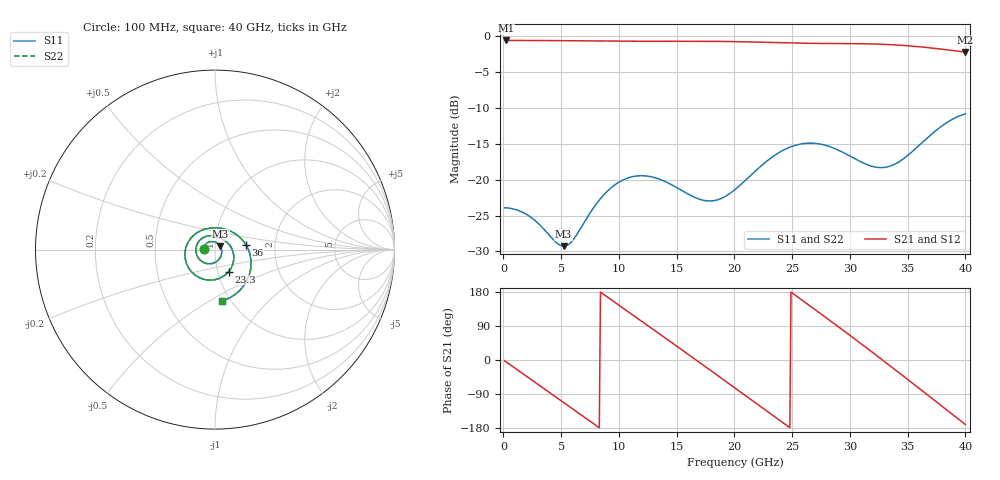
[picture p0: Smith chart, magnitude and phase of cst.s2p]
! B_s8_L1L8_d200: L1→L8, no stub, drill Ø0.2
! stackup: 8-layer 1.6 mm FR-4 (generic)
! ports: 1, 2
! CST Studio Suite 2025.5 Release from 2025-05-30, time domain (FIT, hexahedral, PBA), 154800 mesh cells, 35 s
! mesh: {'lpw': 20, 'lpb': 20, 'minstep': 0.0, 'ratio': 20}; ports: port 1 (face); port 2 (face)
! interpolated from CST's 1001 samples to the case grid
# Hz S RI R 50
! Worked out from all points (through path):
!   400 points, 100 MHz to 40 GHz, reference 50 ohm
!   highest |S21| = -0.57 dB at 200 MHz (marker M1); lowest = -2.2 dB at 40 GHz (marker M2)
!   group delay of S21, straight-line fit = 61.5 ps
!   lowest |S11| = -29.3 dB at 5.2 GHz (marker M3), VSWR 1.07, Z = 53 + j1.84 ohm
!   |S11| at or under -10 dB: start of sweep to end of sweep
!   |S22| runs from -29.3 to -10.8 dB; largest |S21 - S12| = 4.5e-07
!   S11 on the Smith chart (normalised r, x): 100 MHz: 0.88, +0.00; 23.3 GHz: 1.13, -0.28; 36 GHz: 1.41, +0.08; 40 GHz: 0.91, -0.57
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1e8  -0.0637 0.00216  0.936 -0.0352  0.936 -0.0352  -0.0637 0.00216
2e8  -0.0635 0.00432  0.934 -0.0704  0.934 -0.0704  -0.0635 0.00432
2.9e9  -0.0233 0.0448  0.4324 -0.8297  0.4324 -0.8297  -0.0233 0.0448
5.2e9  0.0297 0.0173  -0.35 -0.8653  -0.35 -0.8653  0.0297 0.0173
6.8e9  0.0341 -0.033  -0.7763 -0.5142  -0.7763 -0.5142  0.0341 -0.033
9.6e9  -0.0503 -0.0764  -0.8279 0.4172  -0.8279 0.4172  -0.0503 -0.0764
1.16e10  -0.104 -0.0224  -0.3192 0.8684  -0.3192 0.8684  -0.104 -0.0223
1.34e10  -0.0916 0.044  0.2962 0.8761  0.2962 0.8761  -0.0916 0.044
1.67e10  0.00228 0.0745  0.925 -0.00697  0.925 -0.00697  0.0023 0.0745
1.83e10  0.0407 0.0591  0.7519 -0.5362  0.7519 -0.5362  0.0407 0.059
2.01e10  0.083 0.0229  0.2365 -0.8883  0.2365 -0.8883  0.083 0.0229
2.16e10  0.1047 -0.0365  -0.2846 -0.8681  -0.2846 -0.8681  0.1047 -0.0366
2.33e10  0.0759 -0.1229  -0.7476 -0.5115  -0.7476 -0.5115  0.0758 -0.1229
2.5e10  -0.0203 -0.1699  -0.8975 0.0488  -0.8975 0.0488  -0.0203 -0.1699
2.67e10  -0.127 -0.1275  -0.6774 0.5835  -0.6774 0.5835  -0.127 -0.1275
2.83e10  -0.1674 -0.028  -0.209 0.8671  -0.209 0.8671  -0.1674 -0.028
2.98e10  -0.1365 0.0607  0.3095 0.8351  0.3095 0.8351  -0.1365 0.0607
3.17e10  -0.0482 0.1161  0.7964 0.3894  0.7964 0.3894  -0.0482 0.1161
3.34e10  0.0385 0.1177  0.8522 -0.2058  0.8522 -0.2058  0.0386 0.1177
3.6e10  0.1716 0.0277  0.2197 -0.8176  0.2197 -0.8176  0.1716 0.0277
3.78e10  0.1953 -0.125  -0.3802 -0.7231  -0.3802 -0.7231  0.1953 -0.125
4e10  0.0381 -0.2856  -0.7661 -0.1298  -0.7661 -0.1298  0.0381 -0.2856
